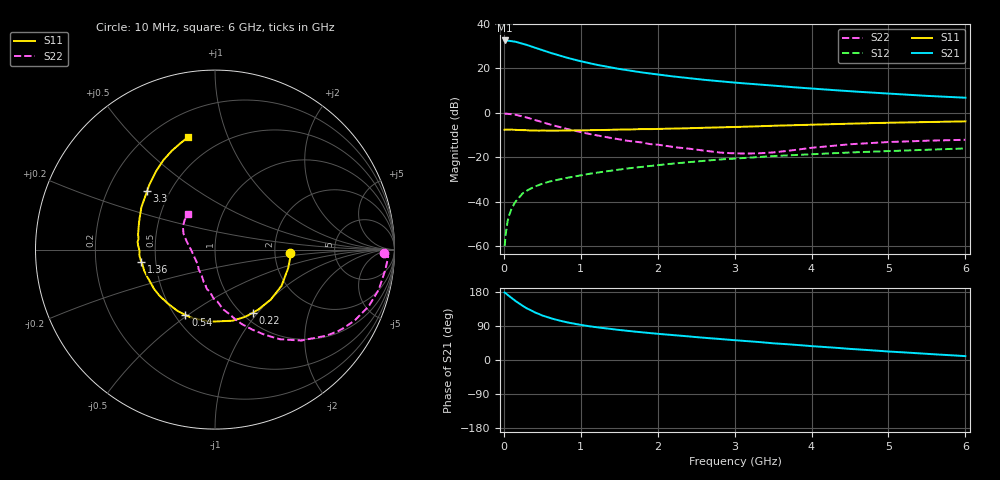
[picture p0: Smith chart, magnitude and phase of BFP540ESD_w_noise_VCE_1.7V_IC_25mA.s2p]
! Infineon Technologies  Discrete & RF Semiconductors
! BFP540ESD
! VCE =  1.7 V,  IC =  25 mA
! Common Emitter S-Parameters:  Nov 2015
# GHz  S  MA  R  50
!  f  S11  S21  S12  S22
! GHz  MAG  ANG  MAG  ANG  MAG  ANG  MAG  ANG
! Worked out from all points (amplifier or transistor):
!   210 points, 10 MHz to 6 GHz, reference 50 ohm
!   highest |S21| = 32.6 dB at 10 MHz (marker M1)
!   |S21| within 3 dB of that: start of sweep to 381.7 MHz
!   unconditionally stable (mu >= 1): start of sweep to 10.12 MHz; 1.933 GHz to end of sweep
!   at 185 MHz: K = 0.23, MSG = 35.2 dB, |S12| = -38.6 dB
!   at 1.52 GHz: K = 0.93, MSG = 22.6 dB, |S12| = -25.4 dB
!   at 6 GHz: K = 1.11, MAG = 9.4 dB, |S12| = -16.0 dB
!   lowest NFmin = 1.29 dB at 900 MHz
!   S11 on the Smith chart (normalised r, x): 10 MHz: 2.43, -0.11; 220 MHz: 1.12, -0.94; 540 MHz: 0.56, -0.49; 1.36 GHz: 0.42, -0.07; 3.3 GHz: 0.37, +0.32; 6 GHz: 0.34, +0.73
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0.01  0.4179 -2.6  42.74 178.1  0.001 110.3  0.9392 -1.3
0.05  0.4205 -14.3  42.34 171.7  0.0037 90.8  0.9563 -6.6
0.1  0.4221 -28.5  41.49 163.7  0.0069 82.0  0.9391 -13.8
0.15  0.4173 -42.0  40.04 156.0  0.0099 77.3  0.9121 -20.4
0.2  0.4122 -54.5  38.11 148.8  0.0125 75.5  0.8733 -26.8
0.22  0.41 -58.9  37.2 146.3  0.0138 73.9  0.8556 -29.1
0.3  0.408 -76.3  33.83 136.1  0.0178 68.6  0.7854 -37.6
0.34  0.4011 -83.4  32 132.3  0.0194 67.2  0.7484 -40.9
0.4  0.4027 -94.2  29.55 125.9  0.0219 65.4  0.6982 -46.5
0.5  0.402 -109.6  25.89 117.4  0.0254 62.4  0.6177 -54.0
0.54  0.3992 -114.4  24.55 114.9  0.0267 62.1  0.5894 -56.2
0.6  0.4003 -121.6  22.64 110.7  0.0287 61.6  0.5488 -59.8
0.8  0.4021 -140.1  17.87 100.3  0.034 59.3  0.4438 -69.9
1.02  0.4041 -154.4  14.28 92.1  0.04 58.1  0.3621 -78.2
1.36  0.4155 -170.3  10.8 82.6  0.0491 57.1  0.2792 -89.9
1.7  0.429 177.2  8.612 74.9  0.0584 55.2  0.2263 -101.1
2.02  0.4375 168.3  7.226 68.8  0.0672 53.3  0.1905 -109.3
3.1  0.487 143.4  4.662 50.8  0.0961 45.3  0.1219 -153.1
3.3  0.4993 139.3  4.371 47.7  0.1013 43.4  0.1231 -164.4
4.1  0.5507 125.7  3.437 35.3  0.1195 35.9  0.1698 161.5
5.1  0.6051 112.4  2.658 21.3  0.1402 26.9  0.2236 142.3
6  0.6448 103.3  2.197 10.2  0.1583 19.7  0.2487 126.8
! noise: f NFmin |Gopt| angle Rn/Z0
0.9  1.29  0.34  -137  0.12
1.8  1.44  0.36  -143  0.12
2.4  1.47  0.37  -133  0.13
3  1.58  0.39  -128  0.15
4  1.65  0.49  -105  0.26
5  1.76  0.57  -87  0.4
6  2.09  0.56  -87  0.63
